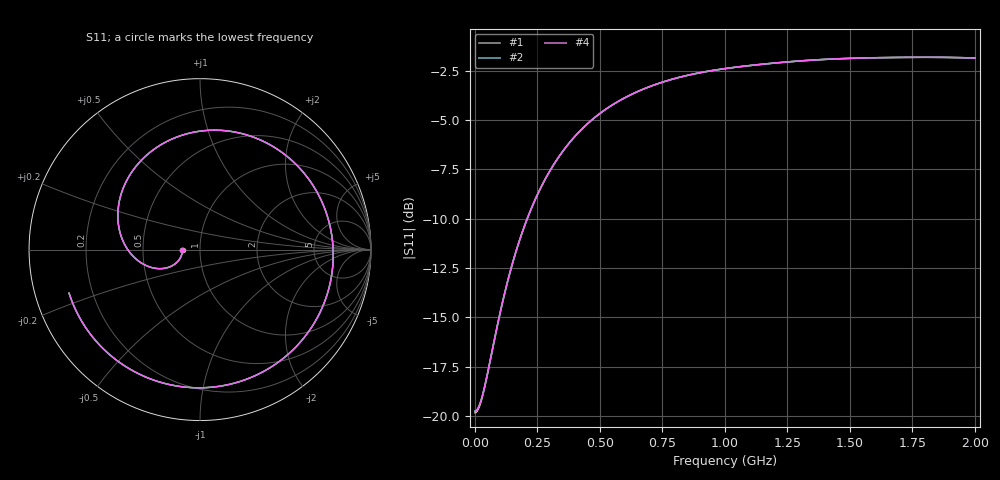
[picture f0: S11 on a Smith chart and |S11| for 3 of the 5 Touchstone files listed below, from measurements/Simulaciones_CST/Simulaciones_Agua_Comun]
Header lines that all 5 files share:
! TOUCHSTONE file generated by CST MICROWAVE STUDIO
! Project name: Sonda-Coaxial_21mm_DisifixB_v2_Agua_Destilada.cst
! Header version: 2018
! Port assignment regex: !\s*Touchstone port\s*([0-9]+)\s*=\s*(CST MWS port|CST DS port)\s*([0-9]+|Zmin|Zmax)\s*\(\"(.*)\"\)(\s*mode\s*([0-9]+))?.*
! Touchstone port assignment:
! Touchstone port 1 = CST MWS port 1 ("")
# GHz S RI R 50
Fixed: h_recipiente = 20, l_conector = 50, r_arandela = 35, r_ext = 10.5, r_int = 3, r_recipiente = 100
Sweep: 1 MHz to 2 GHz
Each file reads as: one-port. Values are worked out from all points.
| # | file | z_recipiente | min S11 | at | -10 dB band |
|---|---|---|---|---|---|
| 1 | Sonda-Coaxial_21mm_DisifixB_v2_Agua_Destilada_1.s1p | -10 | -19.8 dB | 1 MHz | over 208.9 MHz wide |
| 2 | Sonda-Coaxial_21mm_DisifixB_v2_Agua_Destilada_2.s1p | -30 | -19.7 dB | 1 MHz | over 208.9 MHz wide |
| 3 | Sonda-Coaxial_21mm_DisifixB_v2_Agua_Destilada_3.s1p | -50 | -19.8 dB | 1 MHz | over 208.9 MHz wide |
| 4 | Sonda-Coaxial_21mm_DisifixB_v2_Agua_Destilada_4.s1p | -80 | -19.8 dB | 1 MHz | over 208.5 MHz wide |
| 5 | Sonda-Coaxial_21mm_DisifixB_v2_Agua_Destilada_5.s1p | -100 | -19.8 dB | 1 MHz | over 208.5 MHz wide |
